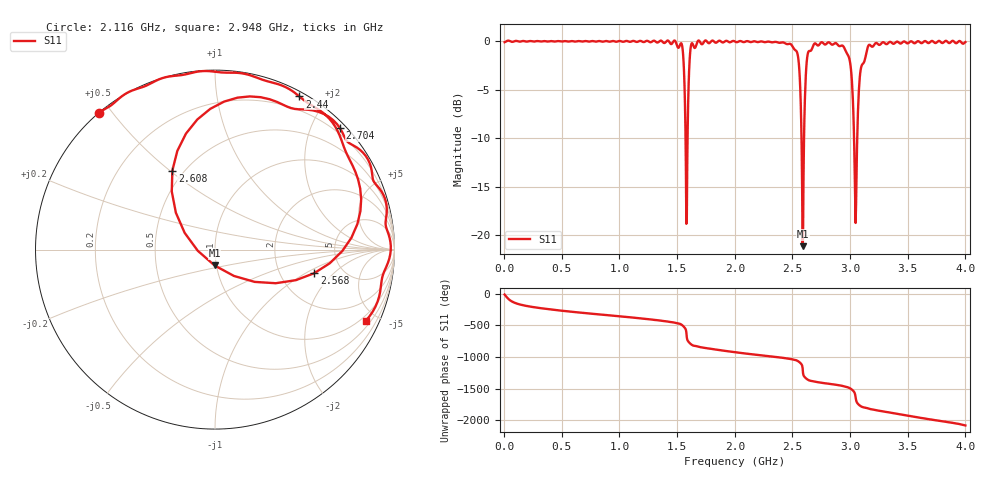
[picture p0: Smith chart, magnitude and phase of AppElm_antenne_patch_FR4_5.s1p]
! TOUCHSTONE file generated by CST MICROWAVE STUDIO
! Date and time: Tue Jun 14 11:27:50 2022
! Project name: AppElm_antenne_patch_FR4.cst
! Parameters = {L=45; W=55.575; e=0.035; h=1.6; lambda=0.190476; ls=120; w0=2.54; w1=0.847; ws=120; y0=18; y1=23.8}
! Header version: 2018
! Port assignment regex: !\s*Touchstone port\s*([0-9]+)\s*=\s*(CST MWS port|CST DS port)\s*([0-9]+|Zmin|Zmax)\s*\(\"(.*)\"\)(\s*mode\s*([0-9]+))?.*
! Touchstone port assignment:
! Touchstone port 1 = CST MWS port 1 ("")
# GHz S MA R 50
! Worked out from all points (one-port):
!   1000 points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, 4 MHz to 4 GHz, reference 50 ohm
!   lowest |S11| = -21.1 dB at 2.588 GHz (marker M1), VSWR 1.19, Z = 49 - j8.69 ohm
!   |S11| at or under -10 dB: 1.573 GHz to 1.591 GHz (17.65 MHz wide, 1.12 % of centre); 2.579 GHz to 2.601 GHz (22.08 MHz wide, 0.853 % of centre); 3.034 GHz to 3.062 GHz (27.57 MHz wide, 0.905 % of centre)
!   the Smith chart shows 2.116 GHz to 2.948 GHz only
!   S11 on the Smith chart (normalised r, x): 2.116 GHz: -0.00, +0.46; 2.44 GHz: 0.05, +1.69; 2.568 GHz: 3.12, -1.21; 2.608 GHz: 0.43, +0.51; 2.704 GHz: 0.10, +2.46; 2.948 GHz: 0.75, -4.35
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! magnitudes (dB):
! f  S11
! 4 MHz  -0.1
! 504 MHz  0.0
! 1.004 GHz  0.0
! 1.504 GHz  -0.6
! 1.544 GHz  -0.5
! 1.568 GHz  -6.4
! 1.58 GHz  -18.8
! 1.596 GHz  -6.2
! 1.616 GHz  -0.8
! 1.632 GHz  -0.2
! 2.004 GHz  0.0
! 2.116 GHz  0.0
! 2.44 GHz  -0.2
! 2.504 GHz  -0.6
! 2.548 GHz  -1.5
! 2.568 GHz  -4.9
! 2.588 GHz  -21.1
! 2.608 GHz  -6.0
! 2.62 GHz  -2.7
! 2.632 GHz  -1.4
! 2.704 GHz  -0.3
! 2.948 GHz  -0.6
! 3.004 GHz  -2.5
! 3.048 GHz  -18.7
! 3.092 GHz  -2.9
! 3.156 GHz  -0.5
! 3.504 GHz  -0.2
! 4 GHz  -0.1
